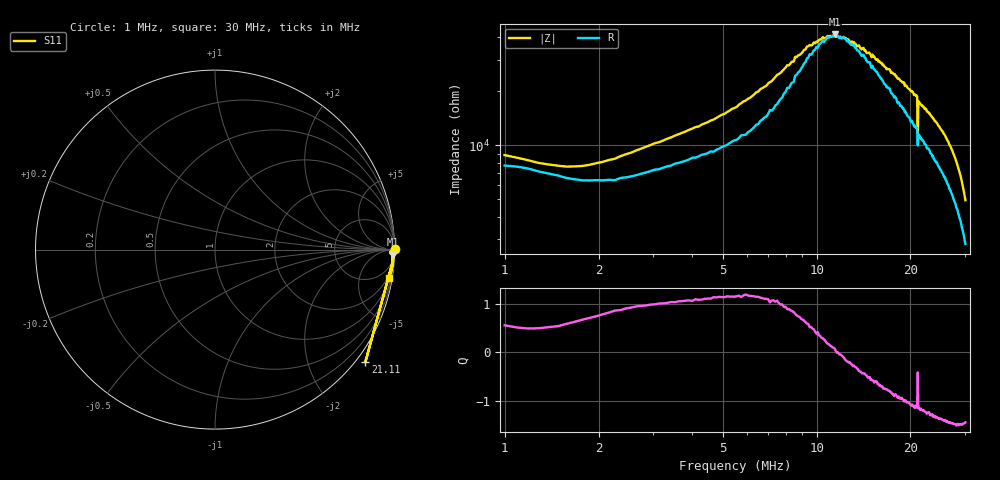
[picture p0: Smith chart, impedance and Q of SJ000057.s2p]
!File created by NanoVNA-F V2
# Hz S RI R 50
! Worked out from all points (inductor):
!   301 points, 1 MHz to 30 MHz, reference 50 ohm
!   read as one part in series: L = 378 uH near 1.097 MHz
!   highest |Z| = 41.5 kohm at 11.44 MHz (marker M1)
!   self-resonance near 11.54 MHz
!   S11 on the Smith chart (normalised r, x): 1 MHz: open; 21.11 MHz: -0.23, -3.00; 30 MHz: 1, -12
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1000000  1.002 0.00438  0.00985 -0.00539  0 0  0 0
1386664  1.006 -0.0023  0.0113 -0.00572  0 0  0 0
1773328  1.01 -0.0123  0.0108 -0.00708  0 0  0 0
2449990  0.9918 -0.0307  0.00832 -0.00738  0 0  0 0
3223318  0.9757 -0.0176  0.00664 -0.00658  0 0  0 0
5833300  0.9866 -0.0119  0.0037 -0.0043  0 0  0 0
9313276  0.991 -0.0207  0.00242 -0.00143  0 0  0 0
1.047327e7  0.9909 -0.0245  0.00239 -0.000675  0 0  0 0
1.056993e7  0.9897 -0.0251  0.00248 -0.000652  0 0  0 0
1.06666e7  0.9906 -0.0265  0.00245 -0.000569  0 0  0 0
1.143993e7  0.9919 -0.0277  0.0024 -0.000175  0 0  0 0
1.317992e7  0.9913 -0.0341  0.00255 0.0007  0 0  0 0
1.54999e7  0.9915 -0.0405  0.00283 0.00171  0 0  0 0
2.03332e7  0.9914 -0.0576  0.00337 0.0037  0 0  0 0
2.100986e7  0.9919 -0.0608  0.00354 0.00398  0 0  0 0
2.110653e7  0.8382 -0.6257  0.0085 0.00349  0 0  0 0
2.120319e7  0.9909 -0.063  0.00371 0.00424  0 0  0 0
2.51665e7  0.9889 -0.0817  0.00486 0.0066  0 0  0 0
2.642316e7  0.9877 -0.092  0.00546 0.00773  0 0  0 0
2.787315e7  0.9851 -0.1076  0.0067 0.00972  0 0  0 0
2.893647e7  0.9801 -0.1268  0.00833 0.012  0 0  0 0
2.99998e7  0.9696 -0.1583  0.0117 0.0162  0 0  0 0
